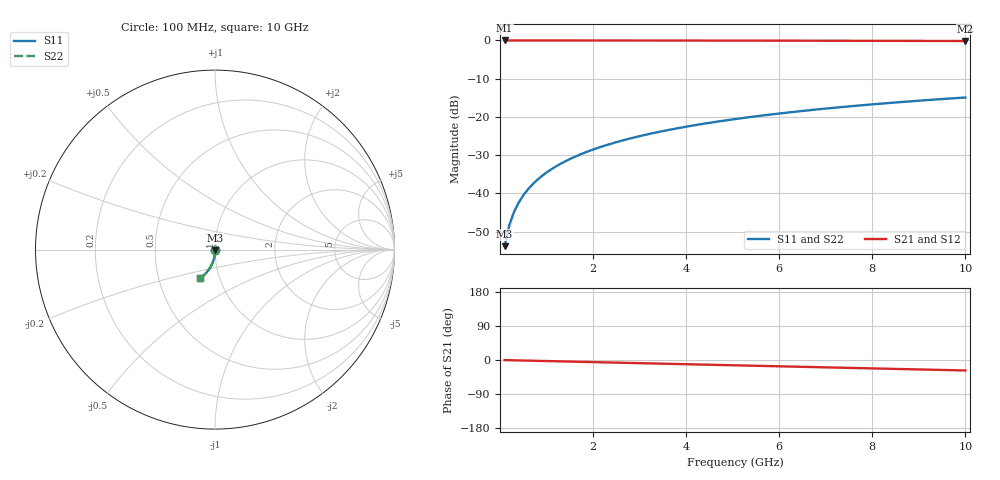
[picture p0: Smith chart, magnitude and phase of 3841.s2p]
# Hz S RI R 50.00
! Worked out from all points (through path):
!   100 points, 100 MHz to 10 GHz, reference 50 ohm
!   highest |S21| = -0.01 dB at 100 MHz (marker M1); lowest = -0.2 dB at 10 GHz (marker M2)
!   group delay of S21, straight-line fit = 7.68 ps
!   lowest |S11| = -53.8 dB at 100 MHz (marker M3), VSWR 1.00, Z = 50.1 - j0.188 ohm
!   |S11| at or under -10 dB: start of sweep to end of sweep
!   |S22| runs from -53.8 to -14.9 dB; largest |S21 - S12| = 0
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1e8  0.000799 -0.00187  0.9992 -0.00484  0.9992 -0.00484  0.000799 -0.00187
2e8  0.000774 -0.00375  0.9991 -0.00968  0.9991 -0.00968  0.000774 -0.00375
3e8  0.000729 -0.00562  0.999 -0.0145  0.999 -0.0145  0.000729 -0.00562
4e8  0.000666 -0.00749  0.9989 -0.0194  0.9989 -0.0194  0.000666 -0.00749
5e8  0.000584 -0.00937  0.9988 -0.0242  0.9988 -0.0242  0.000584 -0.00937
6e8  0.000483 -0.0112  0.9987 -0.029  0.9987 -0.029  0.000483 -0.0112
7e8  0.000365 -0.0131  0.9985 -0.0339  0.9985 -0.0339  0.000365 -0.0131
8e8  0.000228 -0.015  0.9983 -0.0387  0.9983 -0.0387  0.000228 -0.015
9e8  7.24e-05 -0.0168  0.998 -0.0436  0.998 -0.0436  7.24e-05 -0.0168
1.1e9  -0.000293 -0.0206  0.9975 -0.0532  0.9975 -0.0532  -0.000293 -0.0206
1.4e9  -0.000977 -0.0262  0.9965 -0.0677  0.9965 -0.0677  -0.000977 -0.0262
1.8e9  -0.00214 -0.0336  0.9947 -0.087  0.9947 -0.087  -0.00214 -0.0336
2.1e9  -0.0032 -0.0391  0.9931 -0.1014  0.9931 -0.1014  -0.0032 -0.0391
2.5e9  -0.00487 -0.0464  0.9906 -0.1206  0.9906 -0.1206  -0.00487 -0.0464
2.9e9  -0.00681 -0.0537  0.9877 -0.1397  0.9877 -0.1397  -0.00681 -0.0537
3.4e9  -0.00964 -0.0626  0.9835 -0.1635  0.9835 -0.1635  -0.00964 -0.0626
4.2e9  -0.015 -0.0766  0.9754 -0.2013  0.9754 -0.2013  -0.015 -0.0766
5.1e9  -0.0224 -0.0918  0.9643 -0.2432  0.9643 -0.2432  -0.0224 -0.0918
5.9e9  -0.03 -0.1047  0.9527 -0.2798  0.9527 -0.2798  -0.03 -0.1047
6.7e9  -0.0386 -0.1169  0.9396 -0.3158  0.9396 -0.3158  -0.0386 -0.1169
8.4e9  -0.0596 -0.1405  0.9069 -0.3897  0.9069 -0.3897  -0.0596 -0.1405
1e10  -0.0826 -0.1591  0.8704 -0.4557  0.8704 -0.4557  -0.0826 -0.1591
